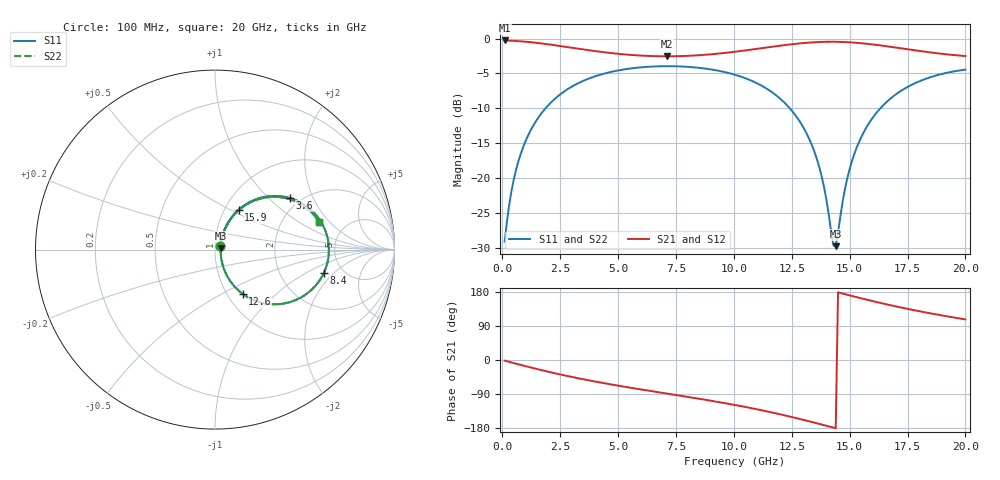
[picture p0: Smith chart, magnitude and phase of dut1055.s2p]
! Touchstone file exported from HFSS 2026.1.0
!  File:  C:/ffzhzh/LocalFiles/Ansys_Project_Files/temp_train_TSV_RDL_1055_1783297479_5512.aedt
!  Generated:  08:38:10 AM Jul  6, 2026
!  Design:  TSV_RDL
!  Project:  temp_train_TSV_RDL_1055_1783297479_5512
! Variables:
!  h_bsmrdl = 2.67um
!  h_ox = 20um
!  h_rdl = 5um
!  h_sub = 89.97um
!  h_tmrdl = 3.36um
!  h_tsv = 89.97um
!  h_via = 3um
!  l_bsmrdl = 417.18um
!  l_sub = 4095.77um
!  l_tmrdl = 588.37um
!  m_sub = 200um
!  pitch = 50.5um
!  r_tsv = 5.81um
!  s_tmrdl = 10um
!  w_bsmrdl = 12.36um
!  w_sub = 500um
!  w_tmrdl = 17.89um
!  x_tsv_center1 = 597.315um
!  x_tsv_center2 = 1026.855um
!  x_tsv_center3 = 1633.115um
!  x_tsv_center4 = 2062.655um
!  x_tsv_center5 = 2668.915um
!  x_tsv_center6 = 3098.455um
# GHz S MA R 50.000000
! Terminal data exported
! Port[1] = TM_RDL1_1_T1
! Port[2] = TM_RDL5_1_T1
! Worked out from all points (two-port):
!   200 points, 100 MHz to 20 GHz, reference 50 ohm
!   highest |S21| = -0.26 dB at 100 MHz (marker M1); lowest = -2.5 dB at 7.1 GHz (marker M2)
!   |S21| within 3 dB of the highest: start of sweep to end of sweep
!   lowest |S11| = -29.8 dB at 14.4 GHz (marker M3), VSWR 1.07, Z = 53.3 + j0.763 ohm
!   |S11| at or under -10 dB: start of sweep to 1.867 GHz; 12.42 GHz to 16.33 GHz (3.91 GHz wide, 27.2 % of centre)
!   |S22| runs from -29.8 to -3.9 dB; largest |S21 - S12| = 2.8e-14
!   S11 on the Smith chart (normalised r, x): 100 MHz: 1.06, +0.04; 3.6 GHz: 1.76, +1.36; 8.4 GHz: 3.57, -1.52; 12.6 GHz: 1.18, -0.63; 15.9 GHz: 1.17, +0.55; 20 GHz: 3.18, +1.54
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0.1  0.03491 31.8  0.9707 -1.7  0.9707 -1.7  0.03491 31.8
! Gamma 0 0 0 0
! Port Impedance 50 0 50 0
0.5  0.0983 63.3  0.9645 -8.2  0.9645 -8.2  0.09831 63.3
1.1  0.1995 62.9  0.9478 -17.7  0.9478 -17.7  0.1995 62.9
2.1  0.348 52.1  0.9053 -32.6  0.9053 -32.6  0.348 52.1
3.5  0.4983 35.7  0.8365 -50.9  0.8365 -50.9  0.4983 35.7
3.6  0.5065 34.5  0.8319 -52.1  0.8319 -52.1  0.5065 34.5
5.2  0.5992 17.9  0.7728 -69.8  0.7728 -69.8  0.5992 17.9
6.8  0.6336 2.7  0.7476 -85.6  0.7476 -85.6  0.6336 2.7
7.1  0.6346 -0.1  0.7469 -88.5  0.7469 -88.5  0.6346 -0.1
8.4  0.6199 -12.2  0.7585 -101.2  0.7585 -101.2  0.6199 -12.2
10.1  0.5475 -29.2  0.8074 -119.3  0.8074 -119.3  0.5475 -29.2
11.5  0.4289 -45.0  0.8684 -136.5  0.8684 -136.5  0.4289 -45.0
12.6  0.2905 -58.0  0.9162 -151.9  0.9162 -151.9  0.2905 -58.0
13.4  0.1671 -65.2  0.9409 -164.1  0.9409 -164.1  0.1671 -65.2
13.8  0.1014 -64.1  0.9477 -170.4  0.9477 -170.4  0.1015 -64.1
14.3  0.0328 -16.8  0.9501 -178.3  0.9501 -178.3  0.03286 -16.8
14.4  0.03238 12.8  0.9497 -179.9  0.9497 -179.9  0.03244 12.7
15  0.1158 63.6  0.9414 170.6  0.9414 170.6  0.1158 63.5
15.9  0.2566 58.9  0.9129 156.8  0.9129 156.8  0.2566 58.9
16.7  0.3638 50.0  0.8775 145.4  0.8775 145.4  0.3638 50.0
18.1  0.5012 34.1  0.8125 127.6  0.8125 127.6  0.5012 34.1
20  0.5995 15.0  0.7501 107.0  0.7501 107.0  0.5995 15.0
